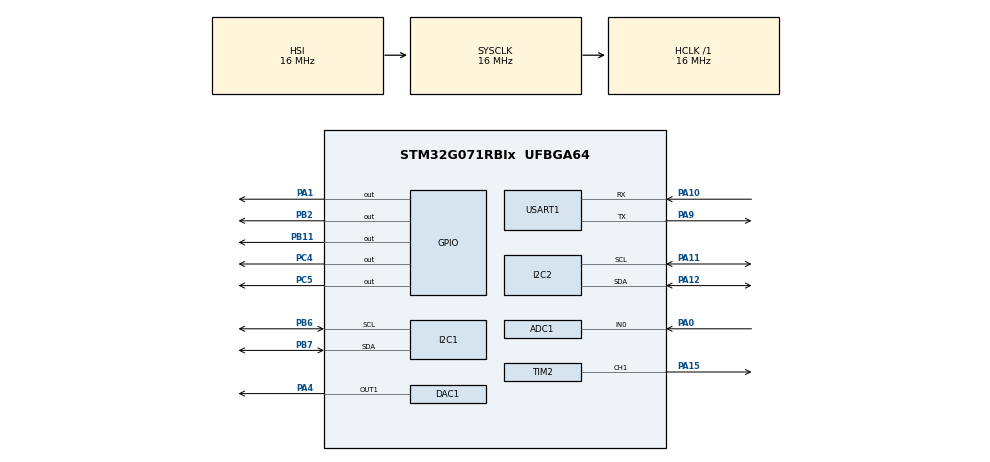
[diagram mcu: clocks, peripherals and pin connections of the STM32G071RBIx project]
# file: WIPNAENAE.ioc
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ADC1.Channel-0\#ChannelRegularConversion=ADC_CHANNEL_0
ADC1.NbrOfConversionFlag=1
ADC1.Rank-0\#ChannelRegularConversion=1
ADC1.SamplingTime-0\#ChannelRegularConversion=ADC_SAMPLINGTIME_COMMON_1
ADC1.SelectedChannel=ADC_CHANNEL_0
ADC1.master=1
DAC1.DAC_Channel-DAC_OUT1=DAC_CHANNEL_1
FREERTOS.Tasks01=defaultTask,24,128,StartDefaultTask,Default,NULL,Dynamic,NULL,NULL
Mcu.Family=STM32G0
Mcu.Name=STM32G071RBIx
Mcu.Package=UFBGA64
PA0.Mode=IN0
PA0.Signal=ADC1_IN0
PA1.Signal=GPIO_Output
PA10.Mode=Asynchronous
PA10.Signal=USART1_RX
PA11\ [PA9].Mode=I2C
PA11\ [PA9].Signal=I2C2_SCL
PA12\ [PA10].Mode=I2C
PA12\ [PA10].Signal=I2C2_SDA
PA15.Signal=S_TIM2_CH1_ETR
PA4.Signal=COMP_DAC11_group
PA9.Mode=Asynchronous
PA9.Signal=USART1_TX
PB11.Signal=GPIO_Output
PB2.Signal=GPIO_Output
PB6.Mode=I2C
PB6.Signal=I2C1_SCL
PB7.Mode=I2C
PB7.Signal=I2C1_SDA
PC4.Signal=GPIO_Output
PC5.Signal=GPIO_Output
ProjectManager.HeapSize=0x200
ProjectManager.StackSize=0x400
ProjectManager.TargetToolchain=STM32CubeIDE
RCC.AHBFreq_Value=16000000
RCC.CortexFreq_Value=16000000
RCC.EXTERNAL_CLOCK_VALUE=48000
RCC.HCLKFreq_Value=16000000
RCC.HSE_VALUE=8000000
RCC.HSI_VALUE=16000000
RCC.LSE_VALUE=32768
RCC.SYSCLKFreq_VALUE=16000000
RCC.VCOOutputFreq_Value=128000000
SH.COMP_DAC11_group.0=DAC1_OUT1,DAC_OUT1
SH.S_TIM2_CH1_ETR.0=TIM2_CH1,PWM Generation1 CH1
TIM2.Channel-PWM\ Generation1\ CH1=TIM_CHANNEL_1
USART1.VirtualMode-Asynchronous=VM_ASYNC
VP_FREERTOS_VS_CMSIS_V2.Mode=CMSIS_V2
VP_SYS_VS_DBSignals.Mode=DisableDeadBatterySignals
VP_TIM2_VS_ClockSourceINT.Mode=Internal
board=custom

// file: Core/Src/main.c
/* USER CODE BEGIN Header */
/**
  ******************************************************************************
  * @file           : main.c
  * @brief          : Main program body
  ******************************************************************************
  * @attention
  *
  * Copyright (c) 2022 STMicroelectronics.
  * All rights reserved.
  *
  * This software is licensed under terms that can be found in the LICENSE file
  * in the root directory of this software component.
  * If no LICENSE file comes with this software, it is provided AS-IS.
  *
  ******************************************************************************
  */
/* USER CODE END Header */
#include "main.h"
#include "cmsis_os.h"

/* USER CODE BEGIN Includes */
#include "stdio.h"
#include "adxl345.h"
#include "AS5600.h"
#include "motor.h"
#include "CONF.h"

/* USER CODE END Includes */

ADC_HandleTypeDef hadc1;

DAC_HandleTypeDef hdac1;

I2C_HandleTypeDef hi2c1;
I2C_HandleTypeDef hi2c2;

TIM_HandleTypeDef htim2;

UART_HandleTypeDef huart1;

/* Definitions for defaultTask */
osThreadId_t defaultTaskHandle;
const osThreadAttr_t defaultTask_attributes = {
  .name = "defaultTask",
  .priority = (osPriority_t) osPriorityNormal,
  .stack_size = 128 * 4
};
/* USER CODE BEGIN PV */
AccelerometerData_t accelerometer1;
AccelerometerData_t accelerometer2;
AccelerometerData_t accelerometer3;

void __io_putchar(uint8_t ch) {
	HAL_UART_Transmit(&huart1, &ch, 1, 1);
}

/* USER CODE END PV */

void SystemClock_Config(void);
static void MX_GPIO_Init(void);
static void MX_ADC1_Init(void);
static void MX_I2C1_Init(void);
static void MX_I2C2_Init(void);
static void MX_USART1_UART_Init(void);
static void MX_TIM2_Init(void);
static void MX_DAC1_Init(void);
void StartDefaultTask(void *argument);

int main(void)
{

  /* MCU Configuration--------------------------------------------------------*/

  /* Reset of all peripherals, Initializes the Flash interface and the Systick. */
  HAL_Init();

  /* Configure the system clock */
  SystemClock_Config();

  /* Initialize all configured peripherals */
  MX_GPIO_Init();
  MX_ADC1_Init();
  MX_I2C1_Init();
  MX_I2C2_Init();
  MX_USART1_UART_Init();
  MX_TIM2_Init();
  MX_DAC1_Init();
  /* USER CODE BEGIN 2 */
  setbuf(stdout, NULL);

  accelerometer1.CS_PIN = GPIO_PIN_2;
  accelerometer1.gpio_port = GPIOB;

  printf("Initializing Devices\r\n");
  vADXL345_DeviceSetup(&accelerometer1, &hi2c1);
  HAL_ADCEx_Calibration_Start(&hadc1);

  printf("Devices Initialized\r\n");
  /* USER CODE END 2 */

  /* Init scheduler */
  osKernelInitialize();

  /* Create the thread(s) */
  /* creation of defaultTask */
  defaultTaskHandle = osThreadNew(StartDefaultTask, NULL, &defaultTask_attributes);

  /* Start scheduler */
  osKernelStart();

  /* We should never get here as control is now taken by the scheduler */
  /* Infinite loop */
  while (1)
  {

  }
}

void SystemClock_Config(void)
{
  RCC_OscInitTypeDef RCC_OscInitStruct = {0};
  RCC_ClkInitTypeDef RCC_ClkInitStruct = {0};

  /** Configure the main internal regulator output voltage
  */
  HAL_PWREx_ControlVoltageScaling(PWR_REGULATOR_VOLTAGE_SCALE1);
  /** Initializes the RCC Oscillators according to the specified parameters
  * in the RCC_OscInitTypeDef structure.
  */
  RCC_OscInitStruct.OscillatorType = RCC_OSCILLATORTYPE_HSI;
  RCC_OscInitStruct.HSIState = RCC_HSI_ON;
  RCC_OscInitStruct.HSIDiv = RCC_HSI_DIV1;
  RCC_OscInitStruct.HSICalibrationValue = RCC_HSICALIBRATION_DEFAULT;
  RCC_OscInitStruct.PLL.PLLState = RCC_PLL_NONE;
  if (HAL_RCC_OscConfig(&RCC_OscInitStruct) != HAL_OK)
  {
    Error_Handler();
  }
  /** Initializes the CPU, AHB and APB buses clocks
  */
  RCC_ClkInitStruct.ClockType = RCC_CLOCKTYPE_HCLK|RCC_CLOCKTYPE_SYSCLK
                              |RCC_CLOCKTYPE_PCLK1;
  RCC_ClkInitStruct.SYSCLKSource = RCC_SYSCLKSOURCE_HSI;
  RCC_ClkInitStruct.AHBCLKDivider = RCC_SYSCLK_DIV1;
  RCC_ClkInitStruct.APB1CLKDivider = RCC_HCLK_DIV1;

  if (HAL_RCC_ClockConfig(&RCC_ClkInitStruct, FLASH_LATENCY_0) != HAL_OK)
  {
    Error_Handler();
  }
}

static void MX_ADC1_Init(void)
{

  ADC_ChannelConfTypeDef sConfig = {0};

  /** Configure the global features of the ADC (Clock, Resolution, Data Alignment and number of conversion)
  */
  hadc1.Instance = ADC1;
  hadc1.Init.ClockPrescaler = ADC_CLOCK_SYNC_PCLK_DIV2;
  hadc1.Init.Resolution = ADC_RESOLUTION_12B;
  hadc1.Init.DataAlign = ADC_DATAALIGN_RIGHT;
  hadc1.Init.ScanConvMode = ADC_SCAN_DISABLE;
  hadc1.Init.EOCSelection = ADC_EOC_SINGLE_CONV;
  hadc1.Init.LowPowerAutoWait = DISABLE;
  hadc1.Init.LowPowerAutoPowerOff = DISABLE;
  hadc1.Init.ContinuousConvMode = DISABLE;
  hadc1.Init.NbrOfConversion = 1;
  hadc1.Init.DiscontinuousConvMode = DISABLE;
  hadc1.Init.ExternalTrigConv = ADC_SOFTWARE_START;
  hadc1.Init.ExternalTrigConvEdge = ADC_EXTERNALTRIGCONVEDGE_NONE;
  hadc1.Init.DMAContinuousRequests = DISABLE;
  hadc1.Init.Overrun = ADC_OVR_DATA_PRESERVED;
  hadc1.Init.SamplingTimeCommon1 = ADC_SAMPLETIME_1CYCLE_5;
  hadc1.Init.SamplingTimeCommon2 = ADC_SAMPLETIME_1CYCLE_5;
  hadc1.Init.OversamplingMode = DISABLE;
  hadc1.Init.TriggerFrequencyMode = ADC_TRIGGER_FREQ_HIGH;
  if (HAL_ADC_Init(&hadc1) != HAL_OK)
  {
    Error_Handler();
  }
  /** Configure Regular Channel
  */
  sConfig.Channel = ADC_CHANNEL_0;
  sConfig.Rank = ADC_REGULAR_RANK_1;
  sConfig.SamplingTime = ADC_SAMPLINGTIME_COMMON_1;
  if (HAL_ADC_ConfigChannel(&hadc1, &sConfig) != HAL_OK)
  {
    Error_Handler();
  }

}

static void MX_DAC1_Init(void)
{

  DAC_ChannelConfTypeDef sConfig = {0};

  /** DAC Initialization
  */
  hdac1.Instance = DAC1;
  if (HAL_DAC_Init(&hdac1) != HAL_OK)
  {
    Error_Handler();
  }
  /** DAC channel OUT1 config
  */
  sConfig.DAC_SampleAndHold = DAC_SAMPLEANDHOLD_DISABLE;
  sConfig.DAC_Trigger = DAC_TRIGGER_NONE;
  sConfig.DAC_OutputBuffer = DAC_OUTPUTBUFFER_ENABLE;
  sConfig.DAC_ConnectOnChipPeripheral = DAC_CHIPCONNECT_DISABLE;
  sConfig.DAC_UserTrimming = DAC_TRIMMING_FACTORY;
  if (HAL_DAC_ConfigChannel(&hdac1, &sConfig, DAC_CHANNEL_1) != HAL_OK)
  {
    Error_Handler();
  }

}

static void MX_I2C1_Init(void)
{

  hi2c1.Instance = I2C1;
  hi2c1.Init.Timing = 0x00303D5B;
  hi2c1.Init.OwnAddress1 = 0;
  hi2c1.Init.AddressingMode = I2C_ADDRESSINGMODE_7BIT;
  hi2c1.Init.DualAddressMode = I2C_DUALADDRESS_DISABLE;
  hi2c1.Init.OwnAddress2 = 0;
  hi2c1.Init.OwnAddress2Masks = I2C_OA2_NOMASK;
  hi2c1.Init.GeneralCallMode = I2C_GENERALCALL_DISABLE;
  hi2c1.Init.NoStretchMode = I2C_NOSTRETCH_DISABLE;
  if (HAL_I2C_Init(&hi2c1) != HAL_OK)
  {
    Error_Handler();
  }
  /** Configure Analogue filter
  */
  if (HAL_I2CEx_ConfigAnalogFilter(&hi2c1, I2C_ANALOGFILTER_ENABLE) != HAL_OK)
  {
    Error_Handler();
  }
  /** Configure Digital filter
  */
  if (HAL_I2CEx_ConfigDigitalFilter(&hi2c1, 0) != HAL_OK)
  {
    Error_Handler();
  }

}

static void MX_I2C2_Init(void)
{

  hi2c2.Instance = I2C2;
  hi2c2.Init.Timing = 0x00303D5B;
  hi2c2.Init.OwnAddress1 = 0;
  hi2c2.Init.AddressingMode = I2C_ADDRESSINGMODE_7BIT;
  hi2c2.Init.DualAddressMode = I2C_DUALADDRESS_DISABLE;
  hi2c2.Init.OwnAddress2 = 0;
  hi2c2.Init.OwnAddress2Masks = I2C_OA2_NOMASK;
  hi2c2.Init.GeneralCallMode = I2C_GENERALCALL_DISABLE;
  hi2c2.Init.NoStretchMode = I2C_NOSTRETCH_DISABLE;
  if (HAL_I2C_Init(&hi2c2) != HAL_OK)
  {
    Error_Handler();
  }
  /** Configure Analogue filter
  */
  if (HAL_I2CEx_ConfigAnalogFilter(&hi2c2, I2C_ANALOGFILTER_ENABLE) != HAL_OK)
  {
    Error_Handler();
  }
  /** Configure Digital filter
  */
  if (HAL_I2CEx_ConfigDigitalFilter(&hi2c2, 0) != HAL_OK)
  {
    Error_Handler();
  }

}

static void MX_TIM2_Init(void)
{

  TIM_ClockConfigTypeDef sClockSourceConfig = {0};
  TIM_MasterConfigTypeDef sMasterConfig = {0};
  TIM_OC_InitTypeDef sConfigOC = {0};

  htim2.Instance = TIM2;
  htim2.Init.Prescaler = 0;
  htim2.Init.CounterMode = TIM_COUNTERMODE_UP;
  htim2.Init.Period = 4294967295;
  htim2.Init.ClockDivision = TIM_CLOCKDIVISION_DIV1;
  htim2.Init.AutoReloadPreload = TIM_AUTORELOAD_PRELOAD_DISABLE;
  if (HAL_TIM_Base_Init(&htim2) != HAL_OK)
  {
    Error_Handler();
  }
  sClockSourceConfig.ClockSource = TIM_CLOCKSOURCE_INTERNAL;
  if (HAL_TIM_ConfigClockSource(&htim2, &sClockSourceConfig) != HAL_OK)
  {
    Error_Handler();
  }
  if (HAL_TIM_PWM_Init(&htim2) != HAL_OK)
  {
    Error_Handler();
  }
  sMasterConfig.MasterOutputTrigger = TIM_TRGO_RESET;
  sMasterConfig.MasterSlaveMode = TIM_MASTERSLAVEMODE_DISABLE;
  if (HAL_TIMEx_MasterConfigSynchronization(&htim2, &sMasterConfig) != HAL_OK)
  {
    Error_Handler();
  }
  sConfigOC.OCMode = TIM_OCMODE_PWM1;
  sConfigOC.Pulse = 0;
  sConfigOC.OCPolarity = TIM_OCPOLARITY_HIGH;
  sConfigOC.OCFastMode = TIM_OCFAST_DISABLE;
  if (HAL_TIM_PWM_ConfigChannel(&htim2, &sConfigOC, TIM_CHANNEL_1) != HAL_OK)
  {
    Error_Handler();
  }
  HAL_TIM_MspPostInit(&htim2);

}

static void MX_USART1_UART_Init(void)
{

  huart1.Instance = USART1;
  huart1.Init.BaudRate = 115200;
  huart1.Init.WordLength = UART_WORDLENGTH_8B;
  huart1.Init.StopBits = UART_STOPBITS_1;
  huart1.Init.Parity = UART_PARITY_NONE;
  huart1.Init.Mode = UART_MODE_TX_RX;
  huart1.Init.HwFlowCtl = UART_HWCONTROL_NONE;
  huart1.Init.OverSampling = UART_OVERSAMPLING_16;
  huart1.Init.OneBitSampling = UART_ONE_BIT_SAMPLE_DISABLE;
  huart1.Init.ClockPrescaler = UART_PRESCALER_DIV1;
  huart1.AdvancedInit.AdvFeatureInit = UART_ADVFEATURE_NO_INIT;
  if (HAL_UART_Init(&huart1) != HAL_OK)
  {
    Error_Handler();
  }
  if (HAL_UARTEx_SetTxFifoThreshold(&huart1, UART_TXFIFO_THRESHOLD_1_8) != HAL_OK)
  {
    Error_Handler();
  }
  if (HAL_UARTEx_SetRxFifoThreshold(&huart1, UART_RXFIFO_THRESHOLD_1_8) != HAL_OK)
  {
    Error_Handler();
  }
  if (HAL_UARTEx_DisableFifoMode(&huart1) != HAL_OK)
  {
    Error_Handler();
  }

}

static void MX_GPIO_Init(void)
{
  GPIO_InitTypeDef GPIO_InitStruct = {0};

  /* GPIO Ports Clock Enable */
  __HAL_RCC_GPIOB_CLK_ENABLE();
  __HAL_RCC_GPIOA_CLK_ENABLE();
  __HAL_RCC_GPIOC_CLK_ENABLE();

  /*Configure GPIO pin Output Level */
  HAL_GPIO_WritePin(GPIOA, GPIO_PIN_1, GPIO_PIN_RESET);

  /*Configure GPIO pin Output Level */
  HAL_GPIO_WritePin(GPIOC, GPIO_PIN_4|GPIO_PIN_5, GPIO_PIN_RESET);

  /*Configure GPIO pin Output Level */
  HAL_GPIO_WritePin(GPIOB, GPIO_PIN_2|GPIO_PIN_11, GPIO_PIN_RESET);

  /*Configure GPIO pin : PA1 */
  GPIO_InitStruct.Pin = GPIO_PIN_1;
  GPIO_InitStruct.Mode = GPIO_MODE_OUTPUT_PP;
  GPIO_InitStruct.Pull = GPIO_NOPULL;
  GPIO_InitStruct.Speed = GPIO_SPEED_FREQ_LOW;
  HAL_GPIO_Init(GPIOA, &GPIO_InitStruct);

  /*Configure GPIO pins : PC4 PC5 */
  GPIO_InitStruct.Pin = GPIO_PIN_4|GPIO_PIN_5;
  GPIO_InitStruct.Mode = GPIO_MODE_OUTPUT_PP;
  GPIO_InitStruct.Pull = GPIO_NOPULL;
  GPIO_InitStruct.Speed = GPIO_SPEED_FREQ_LOW;
  HAL_GPIO_Init(GPIOC, &GPIO_InitStruct);

  /*Configure GPIO pins : PB2 PB11 */
  GPIO_InitStruct.Pin = GPIO_PIN_2|GPIO_PIN_11;
  GPIO_InitStruct.Mode = GPIO_MODE_OUTPUT_PP;
  GPIO_InitStruct.Pull = GPIO_NOPULL;
  GPIO_InitStruct.Speed = GPIO_SPEED_FREQ_LOW;
  HAL_GPIO_Init(GPIOB, &GPIO_InitStruct);

}

void StartDefaultTask(void *argument)
{
  /* USER CODE BEGIN 5 */
  /* Infinite loop */
  for(;;)
  {
    osDelay(400);

  }
  /* USER CODE END 5 */
}

void Error_Handler(void)
{
  __disable_irq();
  while (1)
  {
  }
}
